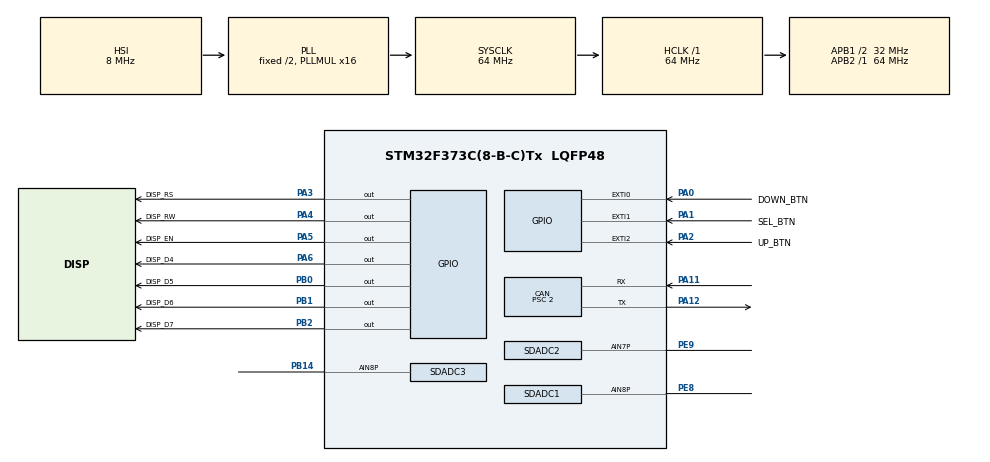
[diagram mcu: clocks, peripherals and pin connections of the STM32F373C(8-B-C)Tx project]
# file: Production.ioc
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Mcu.Family=STM32F3
NVIC.EXTI2_TSC_IRQn=true\:3\:0\:true\:false\:true\:true\:true
NVIC.SDADC1_IRQn=true\:2\:0\:true\:false\:true\:true\:true
RCC.CortexFreq_Value=64000000
RCC.SDADCPresc=RCC_SDADCSYSCLK_DIV12
PA0.GPIO_Label=DOWN_BTN
PA11.Mode=CAN_Activate
PA6.GPIO_Label=DISP_D4
PB0.GPIO_Label=DISP_D5
RCC.SYSCLKSource=RCC_SYSCLKSOURCE_PLLCLK
ProjectManager.StackSize=0x400
SDADC2.NbrOfConversionFlag=1
NVIC.EXTI1_IRQn=true\:3\:0\:true\:false\:true\:true\:true
PA12.Signal=CAN_TX
CAN.Prescaler=2
RCC.HCLKFreq_Value=64000000
RCC.APB2TimFreq_Value=64000000
RCC.AHBFreq_Value=64000000
SDADC3.EnableRegularconversion=DISABLE
RCC.HSE_VALUE=16000000
PB2.Signal=GPIO_Output
RCC.PLLMUL=RCC_PLL_MUL16
PE9.Signal=SDADC2_AIN7P
PA14.Mode=Serial_Wire
PB14.Mode=IN8-Single-Ended
TIM3.Prescaler=64-1
PB1.GPIO_Label=DISP_D6
SDADC3.InjectedContinuousMode=SDADC_CONTINUOUS_CONV_ON
VP_SDADC1_CONF0.Mode=ConfigZero
CAN.CalculateTimeQuantum=62.5
PA0.Signal=GPXTI0
Mcu.Package=LQFP48
TIM2.Prescaler=64-1
PB1.Signal=GPIO_Output
PA6.Signal=GPIO_Output
PA2.GPIO_Label=UP_BTN
PE9.Mode=IN7-Single-Ended
RCC.APB1TimFreq_Value=64000000
PA4.GPIO_Label=DISP_RW
VP_TIM3_VS_ClockSourceINT.Mode=Internal
PA3.Signal=GPIO_Output
VP_SDADC3_CONF0.Mode=ConfigZero
SDADC1.InputMode0=SDADC_INPUT_MODE_SE_ZERO_REFERENCE
CAN.CalculateBaudRate=1000000
NVIC.SDADC2_IRQn=true\:2\:0\:true\:false\:true\:true\:true
RCC.APB1CLKDivider=RCC_HCLK_DIV2
CAN.CalculateTimeBit=1000.00
PE8.Mode=IN8-Single-Ended
PA13.Signal=SYS_JTMS-SWDIO
CAN.BS2=CAN_BS2_7TQ
CAN.BS1=CAN_BS1_8TQ
SDADC3.NbrOfConversionFlag=1
SDADC2.InputMode0=SDADC_INPUT_MODE_SE_ZERO_REFERENCE
VP_SDADC2_CONF0.Mode=ConfigZero
ProjectManager.TargetToolchain=STM32CubeIDE
SDADC1.NbrOfConversionFlag=1
RCC.USBFreq_Value=64000000
RCC.LSE_VALUE=32768
PA1.Signal=GPXTI1
PB14.Signal=SDADC3_AIN8P
PA5.Signal=GPIO_Output
board=custom
NVIC.TIM3_IRQn=true\:0\:0\:true\:false\:true\:true\:true
RCC.APB2Freq_Value=64000000
VP_TIM2_VS_ClockSourceINT.Mode=Internal
PE8.Signal=SDADC1_AIN8P
PA1.GPIO_Label=SEL_BTN
TIM2.Period=65535
PA13.Mode=Serial_Wire
Mcu.Name=STM32F373C(8-B-C)Tx
PA2.Signal=GPXTI2
PB3.Signal=SYS_JTDO-TRACESWO
NVIC.EXTI0_IRQn=true\:3\:0\:true\:false\:true\:true\:true
PA4.Signal=GPIO_Output
RCC.SYSCLKFreq_VALUE=64000000
SDADC3.InputMode0=SDADC_INPUT_MODE_SE_ZERO_REFERENCE
SDADC3.Offset0=0
PA12.Mode=CAN_Activate
PA5.GPIO_Label=DISP_EN
SDADC1.EnableInjectedConversion=DISABLE
PA11.Signal=CAN_RX
SDADC3.ReferenceVoltage=SDADC_VREF_EXT
PA14.Signal=SYS_JTCK-SWCLK
PB2.GPIO_Label=DISP_D7
ProjectManager.HeapSize=0x200
SDADC3.EnableInjectedConversion=DISABLE
RCC.HSI_VALUE=8000000
NVIC.PriorityGroup=NVIC_PRIORITYGROUP_4
RCC.APB1Freq_Value=32000000
NVIC.SDADC3_IRQn=true\:2\:0\:true\:false\:true\:true\:true
PB0.Signal=GPIO_Output
PA3.GPIO_Label=DISP_RS

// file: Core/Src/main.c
/* USER CODE BEGIN Header */
/**
 ******************************************************************************
 * @file           : main.c
 * @brief          : Main program body
 ******************************************************************************
 * @attention
 *
 * <h2><center>&copy; Copyright (c) 2021 STMicroelectronics.
 * All rights reserved.</center></h2>
 *
 * This software component is licensed by ST under BSD 3-Clause license,
 * the "License"; You may not use this file except in compliance with the
 * License. You may obtain a copy of the License at:
 *                        opensource.org/licenses/BSD-3-Clause
 *
 ******************************************************************************
 */
/* USER CODE END Header */
#include "main.h"

/* USER CODE BEGIN Includes */
#include <math.h>
#include <stdio.h>
#include <string.h>
#include "LCD1602.h"
/* USER CODE END Includes */

CAN_HandleTypeDef hcan;

SDADC_HandleTypeDef hsdadc1;
SDADC_HandleTypeDef hsdadc2;
SDADC_HandleTypeDef hsdadc3;

TIM_HandleTypeDef htim2;
TIM_HandleTypeDef htim3;

/* USER CODE BEGIN PV */
//CAN VARIABLES
uint32_t *tx_mailbox; // Tx Mailbox for CAN messages
CAN_FilterTypeDef can_filter; // CAN filter structure

uint8_t PSC=2; //Prescaler for CAN Baud

uint8_t can_id_1, can_id_2, can_id_3;//CAN IDs of analog devices
uint8_t id_arr[4];//array of can ids
uint32_t *CAN_IDs;//32 bit int of can ids
uint8_t can_enabled = 1;// can enable bool
CAN_TxHeaderTypeDef headers_1, headers_2, headers_3; // CAN headers
uint8_t analog_enable_arr[4];// array used to store if analog values are enabled
uint32_t *enable_word;//32 bit int of enable bools
char modified_can_id[3];//can id of the can signal being modified

//ANALOG VARIABLES
//booleans to track which devices are enabled
uint8_t analog_1_enabled=1;
uint8_t analog_2_enabled=1;
uint8_t analog_3_enabled=1;

//analog offsets
uint32_t analog_1_offset=0;
uint32_t analog_2_offset=0;
uint32_t analog_3_offset=0;

//analog scalars for scaling after offset
float offset_scalar_1=1;
float offset_scalar_2=1;
float offset_scalar_3=1;

uint8_t store_offsets=0;//boolean used to store the offsets

int32_t raw_1, raw_2, raw_3; //raw analog data from the sensors
int32_t a_in_1, a_in_2, a_in_3; //adjusted analog data from the sensors
int32_t a_in_1_avg, a_in_2_avg, a_in_3_avg; //adjusted analog data from the sensors
uint8_t a_data_1[2], a_data_2[2], a_data_3[2]; //analog data in a byte array
uint16_t data_arr_length = 4096; //length of the data arrays for averaging the analog values
uint16_t a_data_arr_1[4096], a_data_arr_2[4096], a_data_arr_3[4096]; // data array of values collected between sends
uint16_t a_1_index = 0; // index in data array
uint16_t a_2_index = 0; // index in data array
uint16_t a_3_index = 0; // index in data array
uint16_t for_index = 0; // index used in for loops
uint32_t max = 0; // max index in for loop

//DISPLAY VARIABLES
//menu arrays
char main_menu[4][17] = {"CAN Bus Config  ", "Analog Config   ", "Display Values  ", "Rate:    3333sps"};
char can_menu[6][17] = {"Back            ", "Baud rate:      ", "CAN ID 1:    001", "CAN ID 2:    002", "CAN ID 3:    003", "Reset CAN Config"};
char analog_menu[10][17] = {"Back            ", "Zero All        ", "Zero Analog 1   ", "Zero Analog 2    ", "Zero Analog 3    ", "Analog 1:     ON",
		"Analog 2:     ON", "Analog 3:     ON", "Reset Offsets   ", "Store Offsets   "};
//baud rates to cycle through
const char baud_rates[4][4] = {"125k", "250k", "500k", "  1M"};

//booleans to track current menu
uint8_t in_main_menu = 1;
uint8_t in_can_menu = 0;
uint8_t in_analog_menu = 0;

uint8_t display_scroll = 0;//int for scrolling through devices in display menu

//menu vars
const int main_menu_length=(sizeof(main_menu)/sizeof(main_menu[0]));//the number of strings in the main menu
const int can_menu_length=(sizeof(can_menu)/sizeof(can_menu[0]));//the number of strings in the can config menu
const int analog_menu_length=(sizeof(analog_menu)/sizeof(analog_menu[0]));//the number of strings in the analog config menu
const int baud_rates_length=(sizeof(baud_rates)/sizeof(baud_rates[0]));//the number of baud rates to select from
char temp[17]; //temporary array used for copying
char char_arr[16];//second array used for copying

int8_t menu_pos = 0; //main menu position
int8_t can_pos = 0; //can menu position
int8_t analog_pos = 0; //analog menu position
int8_t baud_pos = 3; //baud_rate array position

//MISC VARIABLES
uint8_t byte_arr[4];//used in wordToByte for storing the resulting bytes

int16_t us = 100;//delay between loops in microseconds
uint8_t num_delays = 0;//the number of loops in between samples
uint16_t sample_rate = 30; // the sample rate of the can transmisions

uint8_t change_value_bool = 0; // boolean for changing the value the selected item
uint8_t up_btn_pressed = 0; // boolean used to debounce buttons
uint8_t down_btn_pressed = 0;
uint8_t sel_btn_pressed = 0;
uint16_t btn_counter=0; // button counter used to debounce buttons
uint16_t debounce_delay = 1000; // number of delays for debounce

uint8_t updating_display = 0; // boolean used for avoiding overwriting during a write to display

/* USER CODE END PV */

void SystemClock_Config(void);
static void MX_GPIO_Init(void);
static void MX_CAN_Init(void);
static void MX_SDADC1_Init(void);
static void MX_SDADC2_Init(void);
static void MX_SDADC3_Init(void);
static void MX_TIM2_Init(void);
static void MX_TIM3_Init(void);
/* USER CODE BEGIN PFP */
void changeBaudRate(uint8_t direction);
void setBaudRate(void);
void changeCANID(uint8_t direction);
void setCANID(void);
void resetCAN(void);
void changeDelay(uint16_t direction);
void setDelay(void);
void zeroAnalog(uint8_t analog_id);
void resetOffsets(void);
void toggleAnalog(uint8_t analog_id);
void displayValues(void);
uint32_t bytesToWord(uint8_t* arr);
uint8_t* wordToBytes(uint32_t value);
void storeInFlash(void);
void calibrateSDADC(SDADC_HandleTypeDef* adc, uint32_t channel);

/* USER CODE END PFP */

int main(void)
{
  /* USER CODE BEGIN 1 */
	//Get variables from Flash Memory
	//get and store CAN IDs
	CAN_IDs=(*(__IO uint32_t *) 0x0800F800);
	memcpy(id_arr, wordToBytes(CAN_IDs), 4);
	can_id_1=id_arr[0];
	can_id_2=id_arr[1];
	can_id_3=id_arr[2];
	//if duplicate IDs set IDs to 1, 2, and 3 respectively
	if(can_id_1==can_id_2 || can_id_1==can_id_3||can_id_2==can_id_3){
		can_id_1=1;
		can_id_2=2;
		can_id_3=3;
	}

	//get the baud rate
	baud_pos=(uint8_t)(*(__IO uint32_t *) 0x0800F804);
	//if invalid baud rate then set to 1M
	if(baud_pos<0||baud_pos>3)
		baud_pos=3;
	PSC=pow(2,4-baud_pos);//set prescaler for CAN timer

	//get the sample rate and set it to 100sps if the values is out of the allowed range
	sample_rate=(uint16_t)(*(__IO uint32_t *) 0x0800F808);
	if(sample_rate<(uint16_t)30 || sample_rate>(uint16_t)10000)
		sample_rate=100;

	// retrieve the analog enabled booleans
	enable_word=(*(__IO uint32_t *) 0x0800F80C);
	memcpy(analog_enable_arr, wordToBytes(enable_word), 4);
	analog_1_enabled=analog_enable_arr[0];
	analog_2_enabled=analog_enable_arr[1];
	analog_3_enabled=analog_enable_arr[2];

	//sample rate cap for number of channels enabled
	if(sample_rate<30||(analog_1_enabled && analog_2_enabled && analog_3_enabled && sample_rate > 3000/(log(PSC)/log(2)))||(((analog_1_enabled&&analog_2_enabled)||(analog_1_enabled&&analog_3_enabled)||(analog_2_enabled&&analog_3_enabled))&& sample_rate>5000/(log(PSC)/log(2)))||(sample_rate>10000/(log(PSC)/log(2)))){
		sample_rate=(analog_1_enabled && analog_2_enabled && analog_3_enabled)?3000:((analog_1_enabled&&analog_2_enabled)||(analog_1_enabled&&analog_3_enabled)||(analog_2_enabled&&analog_3_enabled))?5000:10000;
		sample_rate/=(log(PSC)/log(2));
	}

	//get the offsets
	analog_1_offset=(*(__IO uint32_t *) 0x0800F810);
	analog_2_offset=(*(__IO uint32_t *) 0x0800F814);
	analog_3_offset=(*(__IO uint32_t *) 0x0800F818);
	//reset offsets if the stored value is too high
	if(analog_1_offset>65534)
		analog_1_offset=0;
	else
		offset_scalar_1=(65535)/(float)(65535-analog_1_offset);
	if(analog_2_offset>65534)
		analog_2_offset=0;
	else
		offset_scalar_2=(65535)/(float)(65535-analog_2_offset);
	if(analog_3_offset>65534)
		analog_3_offset=0;
	else
		offset_scalar_3=(65535)/(float)(65535-analog_3_offset);

	// Set the headers for the first analog device
	headers_1.StdId = (uint32_t)can_id_1; // set the CAN ID
	headers_1.IDE = CAN_ID_STD; // use standard CAN ID (not extended)
	headers_1.RTR = CAN_RTR_DATA; // specify frame type
	headers_1.DLC = (uint32_t)2; // set the size of the data
	headers_1.TransmitGlobalTime = DISABLE; // disable transmission of time

	// Set the headers for the second analog device
	headers_2.StdId = can_id_2; // set the CAN ID
	headers_2.IDE = CAN_ID_STD; // use standard CAN ID (not extended)
	headers_2.RTR = CAN_RTR_DATA; // specify frame type
	headers_2.DLC = (uint32_t)2; // set the size of the data
	headers_2.TransmitGlobalTime = DISABLE; // disable transmission of time

	// Set the headers for the third analog device
	headers_3.StdId = can_id_3; // set the CAN ID
	headers_3.IDE = CAN_ID_STD; // use standard CAN ID (not extended)
	headers_3.RTR = CAN_RTR_DATA; // specify frame type
	headers_3.DLC = (uint32_t)2; // set the size of the data
	headers_3.TransmitGlobalTime = DISABLE; // disable transmission of time

	//Save the stored values to the menus
	//set the baud rate
	memset(temp,0,17); // erase the temp array
	strncpy(temp, "Baud rate:  ",16); // copy the string to the temp array (limiting the length to 16 characters)
	strlcat(temp,baud_rates[baud_pos],17);
	strlcpy(can_menu[1],temp,17);

	//set can IDs
	memset(temp,0,17); // erase the temp array
	strncpy(temp, "CAN ID ",16); // copy the string to the temp array (limiting the length to 16 characters)
	strcat(temp, "1:    ");
	memset(char_arr, 0, 16);
	sprintf(char_arr, "%03d", can_id_1);
	strlcat(temp, char_arr,17);
	memcpy(can_menu[2],temp,17);
	//can id 2
	memset(temp,0,17); // erase the temp array
	strncpy(temp, "CAN ID ",16); // copy the string to the temp array (limiting the length to 16 characters)
	strcat(temp, "2:    ");
	memset(char_arr, 0, 16);
	sprintf(char_arr, "%03d", can_id_2);
	strlcat(temp, char_arr,17);
	memcpy(can_menu[3],temp,17);
	//can id 3
	memset(temp,0,17); // erase the temp array
	strncpy(temp, "CAN ID ",16); // copy the string to the temp array (limiting the length to 16 characters)
	strcat(temp, "3:    ");
	memset(char_arr, 0, 16);
	sprintf(char_arr, "%03d", can_id_3);
	strlcat(temp, char_arr,17);
	memcpy(can_menu[4],temp,17);

	//Sample rate
	memset(temp,0,17); // erase the temp array
	strncpy(temp, "Rate:   ",16); // copy the string to the temp array (limiting the length to 16 characters)
	memset(char_arr, 0, 16);
	sprintf(char_arr, "%05d", sample_rate);
	strcat(temp, char_arr);
	strlcat(temp,"sps",17);
	memcpy(main_menu[3],temp,17);

	//Analog enabled bools
	if(!analog_1_enabled)
		memcpy(analog_menu[5],"Analog 1:    OFF",17);
	if(!analog_2_enabled)
		memcpy(analog_menu[6],"Analog 2:    OFF",17);
	if(!analog_3_enabled)
		memcpy(analog_menu[7],"Analog 3:    OFF",17);
  /* USER CODE END 1 */

  /* MCU Configuration--------------------------------------------------------*/

  /* Reset of all peripherals, Initializes the Flash interface and the Systick. */
  HAL_Init();

  /* Configure the system clock */
  SystemClock_Config();

  /* Initialize all configured peripherals */
  MX_GPIO_Init();
  MX_CAN_Init();
  MX_SDADC1_Init();
  MX_SDADC2_Init();
  MX_SDADC3_Init();
  MX_TIM2_Init();
  MX_TIM3_Init();
  /* USER CODE BEGIN 2 */
	HAL_TIM_Base_Start(&htim2);//start polling timer

	//initialize LCD (the delays aren't necessary but I think they help to let the adcs stabilize before they're calibrated)
	lcd_init();
	lcd_clear();
	lcd_put_cur(0,0);
	lcd_send_string("Starting Up...");
	HAL_Delay(1000);
	lcd_put_cur(0,0);
	lcd_send_string("Initializing CAN");
	HAL_Delay(1000);

	//setup CAN filter
	can_filter.FilterMaskIdHigh = 0x0000;
	can_filter.FilterMaskIdLow = 0x0000;
	can_filter.FilterFIFOAssignment = CAN_FILTER_FIFO0;
	can_filter.FilterBank = 0;
	can_filter.FilterMode = CAN_FILTERMODE_IDMASK;
	can_filter.FilterScale = CAN_FILTERSCALE_32BIT;
	can_filter.FilterActivation = CAN_FILTER_ENABLE;
	//check that CAN Filter was setup correctly
	if (HAL_CAN_ConfigFilter(&hcan, &can_filter) != HAL_OK)
		Error_Handler();
	//start the can protocol and verify that it has started
	if (HAL_CAN_Start(&hcan) != HAL_OK)
		Error_Handler();

	//display main menu
	lcd_put_cur(0,0);
	//the string is copied to temp to remove the null character at the end of the string in the menu
	lcd_send_string(strncpy(temp,main_menu[menu_pos],16));
	lcd_put_cur(1,0);
	lcd_send_string(strncpy(temp,main_menu[menu_pos+1],16));
	lcd_put_cur(0,0);

	int display_counter=0;//counter used in updating the display

	//calibrate the SDADCs
	calibrateSDADC(&hsdadc1, SDADC_CHANNEL_8);
	calibrateSDADC(&hsdadc2, SDADC_CHANNEL_7);
	calibrateSDADC(&hsdadc3, SDADC_CHANNEL_8);
	HAL_Delay(300);

	//start ADC conversion interrupts
	if(analog_1_enabled)
		HAL_SDADC_Start_IT(&hsdadc1);
	if(analog_2_enabled)
		HAL_SDADC_Start_IT(&hsdadc2);
	if(analog_3_enabled)
		HAL_SDADC_Start_IT(&hsdadc3);

	// start can timer
	TIM3->ARR = (uint32_t)(((float)1/sample_rate)*1000000) - 1;//set the delay between interrupts
	HAL_TIM_Base_Start_IT(&htim3);

  /* USER CODE END 2 */

  /* Infinite loop */
  /* USER CODE BEGIN WHILE */
	while (1)
	{
		//start ADC conversion interrupts
		if(analog_1_enabled)
			HAL_SDADC_Start_IT(&hsdadc1);
		if(analog_2_enabled)
			HAL_SDADC_Start_IT(&hsdadc2);
		if(analog_3_enabled)
			HAL_SDADC_Start_IT(&hsdadc3);

		//Delay between counter increments
		if ((int16_t)__HAL_TIM_GET_COUNTER(&htim2) >= us){
			__HAL_TIM_SET_COUNTER(&htim2,0); // reset timer
			//reset display counter (waits 300ms between updates to the display in the display values menu)
			if(display_counter>3000)
				display_counter=0;

			//Display analog values on display
			if(in_main_menu && menu_pos==2 && change_value_bool && display_counter==0)
				displayValues();

			//unpress buttons
			if(btn_counter>debounce_delay){
				if(up_btn_pressed && !HAL_GPIO_ReadPin(UP_BTN_GPIO_Port, UP_BTN_Pin))
					up_btn_pressed=0;
				if(down_btn_pressed && !HAL_GPIO_ReadPin(DOWN_BTN_GPIO_Port, DOWN_BTN_Pin))
					down_btn_pressed=0;
				if(sel_btn_pressed && !HAL_GPIO_ReadPin(SEL_BTN_GPIO_Port, SEL_BTN_Pin))
					sel_btn_pressed=0;
				btn_counter=0;
			}

			//increment counters
			display_counter++;
			btn_counter++;
		}

    /* USER CODE END WHILE */

	}
}

void SystemClock_Config(void)
{
  RCC_OscInitTypeDef RCC_OscInitStruct = {0};
  RCC_ClkInitTypeDef RCC_ClkInitStruct = {0};
  RCC_PeriphCLKInitTypeDef PeriphClkInit = {0};

  /** Initializes the RCC Oscillators according to the specified parameters
  * in the RCC_OscInitTypeDef structure.
  */
  RCC_OscInitStruct.OscillatorType = RCC_OSCILLATORTYPE_HSI;
  RCC_OscInitStruct.HSIState = RCC_HSI_ON;
  RCC_OscInitStruct.HSICalibrationValue = RCC_HSICALIBRATION_DEFAULT;
  RCC_OscInitStruct.PLL.PLLState = RCC_PLL_ON;
  RCC_OscInitStruct.PLL.PLLSource = RCC_PLLSOURCE_HSI;
  RCC_OscInitStruct.PLL.PLLMUL = RCC_PLL_MUL16;
  if (HAL_RCC_OscConfig(&RCC_OscInitStruct) != HAL_OK)
  {
    Error_Handler();
  }
  /** Initializes the CPU, AHB and APB buses clocks
  */
  RCC_ClkInitStruct.ClockType = RCC_CLOCKTYPE_HCLK|RCC_CLOCKTYPE_SYSCLK
                              |RCC_CLOCKTYPE_PCLK1|RCC_CLOCKTYPE_PCLK2;
  RCC_ClkInitStruct.SYSCLKSource = RCC_SYSCLKSOURCE_PLLCLK;
  RCC_ClkInitStruct.AHBCLKDivider = RCC_SYSCLK_DIV1;
  RCC_ClkInitStruct.APB1CLKDivider = RCC_HCLK_DIV2;
  RCC_ClkInitStruct.APB2CLKDivider = RCC_HCLK_DIV1;

  if (HAL_RCC_ClockConfig(&RCC_ClkInitStruct, FLASH_LATENCY_2) != HAL_OK)
  {
    Error_Handler();
  }
  PeriphClkInit.PeriphClockSelection = RCC_PERIPHCLK_SDADC;
  PeriphClkInit.SdadcClockSelection = RCC_SDADCSYSCLK_DIV12;
  if (HAL_RCCEx_PeriphCLKConfig(&PeriphClkInit) != HAL_OK)
  {
    Error_Handler();
  }
  HAL_PWREx_EnableSDADC(PWR_SDADC_ANALOG1);
  HAL_PWREx_EnableSDADC(PWR_SDADC_ANALOG2);
  HAL_PWREx_EnableSDADC(PWR_SDADC_ANALOG3);
}

static void MX_CAN_Init(void)
{

  hcan.Instance = CAN;
  hcan.Init.Prescaler = 2;
  hcan.Init.Mode = CAN_MODE_NORMAL;
  hcan.Init.SyncJumpWidth = CAN_SJW_1TQ;
  hcan.Init.TimeSeg1 = CAN_BS1_8TQ;
  hcan.Init.TimeSeg2 = CAN_BS2_7TQ;
  hcan.Init.TimeTriggeredMode = DISABLE;
  hcan.Init.AutoBusOff = DISABLE;
  hcan.Init.AutoWakeUp = DISABLE;
  hcan.Init.AutoRetransmission = DISABLE;
  hcan.Init.ReceiveFifoLocked = DISABLE;
  hcan.Init.TransmitFifoPriority = DISABLE;
  if (HAL_CAN_Init(&hcan) != HAL_OK)
  {
    Error_Handler();
  }
  /* USER CODE BEGIN CAN_Init 2 */
	//set the prescaler to the right value for the stored baud rate
	hcan.Init.Prescaler = PSC;
	if (HAL_CAN_Init(&hcan) != HAL_OK)
	{
		Error_Handler();
	}

  /* USER CODE END CAN_Init 2 */

}

static void MX_SDADC1_Init(void)
{

  SDADC_ConfParamTypeDef ConfParamStruct = {0};

  /** Configure the SDADC low power mode, fast conversion mode,
  slow clock mode and SDADC1 reference voltage
  */
  hsdadc1.Instance = SDADC1;
  hsdadc1.Init.IdleLowPowerMode = SDADC_LOWPOWER_NONE;
  hsdadc1.Init.FastConversionMode = SDADC_FAST_CONV_DISABLE;
  hsdadc1.Init.SlowClockMode = SDADC_SLOW_CLOCK_DISABLE;
  hsdadc1.Init.ReferenceVoltage = SDADC_VREF_EXT;
  if (HAL_SDADC_Init(&hsdadc1) != HAL_OK)
  {
    Error_Handler();
  }
  /** Set parameters for SDADC configuration 0 Register
  */
  ConfParamStruct.InputMode = SDADC_INPUT_MODE_SE_ZERO_REFERENCE;
  ConfParamStruct.Gain = SDADC_GAIN_1;
  ConfParamStruct.CommonMode = SDADC_COMMON_MODE_VSSA;
  ConfParamStruct.Offset = 0;
  if (HAL_SDADC_PrepareChannelConfig(&hsdadc1, SDADC_CONF_INDEX_0, &ConfParamStruct) != HAL_OK)
  {
    Error_Handler();
  }

}

static void MX_SDADC2_Init(void)
{

  SDADC_ConfParamTypeDef ConfParamStruct = {0};

  /** Configure the SDADC low power mode, fast conversion mode,
  slow clock mode and SDADC1 reference voltage
  */
  hsdadc2.Instance = SDADC2;
  hsdadc2.Init.IdleLowPowerMode = SDADC_LOWPOWER_NONE;
  hsdadc2.Init.FastConversionMode = SDADC_FAST_CONV_DISABLE;
  hsdadc2.Init.SlowClockMode = SDADC_SLOW_CLOCK_DISABLE;
  hsdadc2.Init.ReferenceVoltage = SDADC_VREF_EXT;
  if (HAL_SDADC_Init(&hsdadc2) != HAL_OK)
  {
    Error_Handler();
  }
  /** Set parameters for SDADC configuration 0 Register
  */
  ConfParamStruct.InputMode = SDADC_INPUT_MODE_SE_ZERO_REFERENCE;
  ConfParamStruct.Gain = SDADC_GAIN_1;
  ConfParamStruct.CommonMode = SDADC_COMMON_MODE_VSSA;
  ConfParamStruct.Offset = 0;
  if (HAL_SDADC_PrepareChannelConfig(&hsdadc2, SDADC_CONF_INDEX_0, &ConfParamStruct) != HAL_OK)
  {
    Error_Handler();
  }

}

static void MX_SDADC3_Init(void)
{

  SDADC_ConfParamTypeDef ConfParamStruct = {0};

  /** Configure the SDADC low power mode, fast conversion mode,
  slow clock mode and SDADC1 reference voltage
  */
  hsdadc3.Instance = SDADC3;
  hsdadc3.Init.IdleLowPowerMode = SDADC_LOWPOWER_NONE;
  hsdadc3.Init.FastConversionMode = SDADC_FAST_CONV_DISABLE;
  hsdadc3.Init.SlowClockMode = SDADC_SLOW_CLOCK_DISABLE;
  hsdadc3.Init.ReferenceVoltage = SDADC_VREF_EXT;
  if (HAL_SDADC_Init(&hsdadc3) != HAL_OK)
  {
    Error_Handler();
  }
  /** Set parameters for SDADC configuration 0 Register
  */
  ConfParamStruct.InputMode = SDADC_INPUT_MODE_SE_ZERO_REFERENCE;
  ConfParamStruct.Gain = SDADC_GAIN_1;
  ConfParamStruct.CommonMode = SDADC_COMMON_MODE_VSSA;
  ConfParamStruct.Offset = 0;
  if (HAL_SDADC_PrepareChannelConfig(&hsdadc3, SDADC_CONF_INDEX_0, &ConfParamStruct) != HAL_OK)
  {
    Error_Handler();
  }

}

static void MX_TIM2_Init(void)
{

  TIM_ClockConfigTypeDef sClockSourceConfig = {0};
  TIM_MasterConfigTypeDef sMasterConfig = {0};

  htim2.Instance = TIM2;
  htim2.Init.Prescaler = 64-1;
  htim2.Init.CounterMode = TIM_COUNTERMODE_UP;
  htim2.Init.Period = 65535;
  htim2.Init.ClockDivision = TIM_CLOCKDIVISION_DIV1;
  htim2.Init.AutoReloadPreload = TIM_AUTORELOAD_PRELOAD_DISABLE;
  if (HAL_TIM_Base_Init(&htim2) != HAL_OK)
  {
    Error_Handler();
  }
  sClockSourceConfig.ClockSource = TIM_CLOCKSOURCE_INTERNAL;
  if (HAL_TIM_ConfigClockSource(&htim2, &sClockSourceConfig) != HAL_OK)
  {
    Error_Handler();
  }
  sMasterConfig.MasterOutputTrigger = TIM_TRGO_RESET;
  sMasterConfig.MasterSlaveMode = TIM_MASTERSLAVEMODE_DISABLE;
  if (HAL_TIMEx_MasterConfigSynchronization(&htim2, &sMasterConfig) != HAL_OK)
  {
    Error_Handler();
  }

}

static void MX_TIM3_Init(void)
{

  TIM_ClockConfigTypeDef sClockSourceConfig = {0};
  TIM_MasterConfigTypeDef sMasterConfig = {0};

  htim3.Instance = TIM3;
  htim3.Init.Prescaler = 64-1;
  htim3.Init.CounterMode = TIM_COUNTERMODE_UP;
  htim3.Init.Period = 65535;
  htim3.Init.ClockDivision = TIM_CLOCKDIVISION_DIV1;
  htim3.Init.AutoReloadPreload = TIM_AUTORELOAD_PRELOAD_DISABLE;
  if (HAL_TIM_Base_Init(&htim3) != HAL_OK)
  {
    Error_Handler();
  }
  sClockSourceConfig.ClockSource = TIM_CLOCKSOURCE_INTERNAL;
  if (HAL_TIM_ConfigClockSource(&htim3, &sClockSourceConfig) != HAL_OK)
  {
    Error_Handler();
  }
  sMasterConfig.MasterOutputTrigger = TIM_TRGO_RESET;
  sMasterConfig.MasterSlaveMode = TIM_MASTERSLAVEMODE_DISABLE;
  if (HAL_TIMEx_MasterConfigSynchronization(&htim3, &sMasterConfig) != HAL_OK)
  {
    Error_Handler();
  }

}

static void MX_GPIO_Init(void)
{
  GPIO_InitTypeDef GPIO_InitStruct = {0};

  /* GPIO Ports Clock Enable */
  __HAL_RCC_GPIOA_CLK_ENABLE();
  __HAL_RCC_GPIOB_CLK_ENABLE();
  __HAL_RCC_GPIOE_CLK_ENABLE();

  /*Configure GPIO pin Output Level */
  HAL_GPIO_WritePin(GPIOA, DISP_RS_Pin|DISP_RW_Pin|DISP_EN_Pin|DISP_D4_Pin, GPIO_PIN_RESET);

  /*Configure GPIO pin Output Level */
  HAL_GPIO_WritePin(GPIOB, DISP_D5_Pin|DISP_D6_Pin|DISP_D7_Pin, GPIO_PIN_RESET);

  /*Configure GPIO pins : DOWN_BTN_Pin SEL_BTN_Pin UP_BTN_Pin */
  GPIO_InitStruct.Pin = DOWN_BTN_Pin|SEL_BTN_Pin|UP_BTN_Pin;
  GPIO_InitStruct.Mode = GPIO_MODE_IT_RISING;
  GPIO_InitStruct.Pull = GPIO_NOPULL;
  HAL_GPIO_Init(GPIOA, &GPIO_InitStruct);

  /*Configure GPIO pins : DISP_RS_Pin DISP_RW_Pin DISP_EN_Pin DISP_D4_Pin */
  GPIO_InitStruct.Pin = DISP_RS_Pin|DISP_RW_Pin|DISP_EN_Pin|DISP_D4_Pin;
  GPIO_InitStruct.Mode = GPIO_MODE_OUTPUT_PP;
  GPIO_InitStruct.Pull = GPIO_NOPULL;
  GPIO_InitStruct.Speed = GPIO_SPEED_FREQ_LOW;
  HAL_GPIO_Init(GPIOA, &GPIO_InitStruct);

  /*Configure GPIO pins : DISP_D5_Pin DISP_D6_Pin DISP_D7_Pin */
  GPIO_InitStruct.Pin = DISP_D5_Pin|DISP_D6_Pin|DISP_D7_Pin;
  GPIO_InitStruct.Mode = GPIO_MODE_OUTPUT_PP;
  GPIO_InitStruct.Pull = GPIO_NOPULL;
  GPIO_InitStruct.Speed = GPIO_SPEED_FREQ_LOW;
  HAL_GPIO_Init(GPIOB, &GPIO_InitStruct);

  /* EXTI interrupt init*/
  HAL_NVIC_SetPriority(EXTI0_IRQn, 3, 0);
  HAL_NVIC_EnableIRQ(EXTI0_IRQn);

  HAL_NVIC_SetPriority(EXTI1_IRQn, 3, 0);
  HAL_NVIC_EnableIRQ(EXTI1_IRQn);

  HAL_NVIC_SetPriority(EXTI2_TSC_IRQn, 3, 0);
  HAL_NVIC_EnableIRQ(EXTI2_TSC_IRQn);

}

/* USER CODE BEGIN 4 */
//read adc values
void HAL_SDADC_ConvCpltCallback(SDADC_HandleTypeDef* hsdadc)
{
	//get analog 1 data
	if(hsdadc==&hsdadc1){
		//get, convert and scale raw data for analog 1
		a_in_1=((int16_t)(HAL_SDADC_GetValue(&hsdadc1))+32768-analog_1_offset);
		if(a_in_1<0)
			a_in_1=0;
		a_data_arr_1[a_1_index%data_arr_length]=(uint16_t)(a_in_1*offset_scalar_1);//scale value
		a_1_index++;
	}

	//get analog 2 data
	if(hsdadc==&hsdadc2){
		//get, convert and scale raw data for analog 2
		a_in_2=((int16_t)(HAL_SDADC_GetValue(&hsdadc2))+32768-analog_2_offset);
		if(a_in_2<0)
			a_in_2=0;
		a_data_arr_2[a_2_index%data_arr_length]=(uint16_t)(a_in_2*offset_scalar_2);//scale value
		a_2_index++;
	}

	//get analog 3 data
	if(hsdadc==&hsdadc3){
		//get, convert and scale raw data for analog 3
		a_in_3=((int16_t)(HAL_SDADC_GetValue(&hsdadc3))+32768-analog_3_offset);
		if(a_in_3<0)
			a_in_3=0;
		a_data_arr_3[a_3_index%data_arr_length]=(uint16_t)(a_in_3*offset_scalar_3);//scale value
		a_3_index++;
	}
}

//sends data over can when timer 3 interrupts
void HAL_TIM_PeriodElapsedCallback(TIM_HandleTypeDef *htim)
{
	// Check to make sure timer 3 triggered this callback and don't try sending before the can is initialized
	if (htim == &htim3 && can_enabled)
	{
		if(analog_1_enabled){
			//average stored values
			a_in_1=0;
			max = (a_1_index<data_arr_length?a_1_index:data_arr_length);
			if(max>0){
				for(for_index=0; for_index<max; for_index++)
					a_in_1+=a_data_arr_1[for_index];
				a_in_1/=max;
				a_1_index=0;
			}

			a_in_1_avg=a_in_1;// store the average for offsets and display

			//put raw data into byte arrays
			a_data_1[0]=a_in_1 & 0xff;
			a_data_1[1]=(a_in_1 >> 8);
			//transmit CAN data for analog 1
			HAL_CAN_AddTxMessage(&hcan, &headers_1, a_data_1, &tx_mailbox);
			//while (HAL_CAN_IsTxMessagePending(&hcan, tx_mailbox));//wait until data is sent for analog 1 (not needed because of the time from averaging)
		}
		if(analog_2_enabled){
			//average stored values
			a_in_2=0;
			max = (a_2_index<data_arr_length?a_2_index:data_arr_length);
			if(max>0){
				for(for_index=0; for_index<max; for_index++)
					a_in_2+=a_data_arr_2[for_index];
				a_in_2/=max;
				a_2_index=0;
			}

			a_in_2_avg=a_in_2;// store the average for offsets and display

			//put raw data into byte arrays
			a_data_2[0]=a_in_2 & 0xff;
			a_data_2[1]=(a_in_2 >> 8);
			//transmit CAN data for analog 2
			HAL_CAN_AddTxMessage(&hcan, &headers_2, a_data_2, &tx_mailbox);
			//while (HAL_CAN_IsTxMessagePending(&hcan, tx_mailbox));//wait until data is sent for analog 2
		}
		if(analog_3_enabled){
			//average stored values
			a_in_3=0;
			max = (a_3_index<data_arr_length?a_3_index:data_arr_length);
			if(max>0){
				for(for_index=0; for_index<max; for_index++)
					a_in_3+=a_data_arr_3[for_index];
				a_in_3/=max;
				a_3_index=0;
			}

			a_in_3_avg=a_in_3;// store the average for offsets and display

			//put raw data into byte arrays
			a_data_3[0]=a_in_3 & 0xff;
			a_data_3[1]=(a_in_3 >> 8);
			//transmit CAN data for analog 3
			HAL_CAN_AddTxMessage(&hcan, &headers_3, a_data_3, &tx_mailbox);
			//while (HAL_CAN_IsTxMessagePending(&hcan, tx_mailbox));//wait until data is sent for analog 3
		}
	}
}

//handles the button interupts
void HAL_GPIO_EXTI_Callback(uint16_t GPIO_Pin){
	if(!updating_display){// don't interrupt if the display is in the middle of updating
		//if the up button is pressed
		if(GPIO_Pin==UP_BTN_Pin && !up_btn_pressed){
			if(change_value_bool){//if changing a value
				//change the value of the selected item
				//main menu changes
				if(in_main_menu){
					if(menu_pos==2)
						display_scroll=(display_scroll==0)?2:(display_scroll-1);//scroll through devices in display values menu
					if(menu_pos == 3)
						changeDelay(1);//increment Delay
				}
				//can menu changes
				if(in_can_menu){
					if(can_pos==1)
						changeBaudRate(1);//increment baud rate
					else if(can_pos>=2&&can_pos<=4)
						changeCANID(1);//increment CAN ID
				}

			} else {
				//scroll menu up
				if(in_main_menu){
					menu_pos=(menu_pos==0)?main_menu_length-1:(menu_pos-1);//decrement menu position
					lcd_put_cur(0,0);
					lcd_send_string(strncpy(temp,main_menu[menu_pos],16));
					lcd_put_cur(1,0);
					lcd_send_string(strncpy(temp,main_menu[(menu_pos+1)%main_menu_length],16));
					lcd_put_cur(0,0);
				} else if(in_can_menu){
					can_pos=(can_pos==0)?can_menu_length-1:(can_pos-1);//decrement menu position
					lcd_put_cur(0,0);
					lcd_send_string(strncpy(temp,can_menu[can_pos],16));
					lcd_put_cur(1,0);
					lcd_send_string(strncpy(temp,can_menu[(can_pos+1)%can_menu_length],16));
					lcd_put_cur(0,0);
				} else if(in_analog_menu){
					analog_pos=(analog_pos==0)?analog_menu_length-1:(analog_pos-1);//decrement menu position
					lcd_put_cur(0,0);
					lcd_send_string(strncpy(temp,analog_menu[analog_pos],16));
					lcd_put_cur(1,0);
					lcd_send_string(strncpy(temp,analog_menu[(analog_pos+1)%analog_menu_length],16));
					lcd_put_cur(0,0);
				}
			}
			btn_counter=0; // reset btn counter
			up_btn_pressed=1; // set up button to pressed
		}

		//if the down button is pressed
		else if(GPIO_Pin==DOWN_BTN_Pin && !down_btn_pressed){
			if(change_value_bool){//if changing a value
				//change the value of the selected item
				//main menu changes
				if(in_main_menu){
					if(menu_pos==2)
						display_scroll=(display_scroll+1)%3;//scroll through devices in display values menu
					if(menu_pos == 3)
						changeDelay(-1);//decrement Delay
				}
				//can menu changes
				if(in_can_menu){
					if(can_pos==1)
						changeBaudRate(-1);//decrement baud rate
					else if(can_pos>=2&&can_pos<=4)
						changeCANID(-1);//decrement CAN ID
				}
			} else {
				//scroll menu down
				if(in_main_menu){
					menu_pos = (menu_pos+1)%main_menu_length;//increment menu position
					lcd_put_cur(0,0);
					lcd_send_string(strncpy(temp,main_menu[menu_pos],16));
					lcd_put_cur(1,0);
					lcd_send_string(strncpy(temp,main_menu[(menu_pos+1)%main_menu_length],16));
					lcd_put_cur(0,0);
				} else if(in_can_menu){
					can_pos=(can_pos+1)%can_menu_length;//increment menu position
					lcd_put_cur(0,0);
					lcd_send_string(strncpy(temp,can_menu[can_pos],16));
					lcd_put_cur(1,0);
					lcd_send_string(strncpy(temp,can_menu[(can_pos+1)%can_menu_length],16));
					lcd_put_cur(0,0);
				} else if(in_analog_menu){
					analog_pos=(analog_pos+1)%analog_menu_length;//increment menu position
					lcd_put_cur(0,0);
					lcd_send_string(strncpy(temp,analog_menu[analog_pos],16));
					lcd_put_cur(1,0);
					lcd_send_string(strncpy(temp,analog_menu[(analog_pos+1)%analog_menu_length],16));
					lcd_put_cur(0,0);
				}

			}
			btn_counter=0; // reset btn counter
			down_btn_pressed=1; // set down button to pressed
		}

		//if the select button is pressed
		else if(GPIO_Pin==SEL_BTN_Pin && !sel_btn_pressed){
			//set changes and reinitialize can bus
			if(!change_value_bool){
				if(in_main_menu){
					if(menu_pos==0){
						//display can menu
						lcd_put_cur(0,0);
						lcd_send_string(strncpy(temp,can_menu[can_pos],16));
						lcd_put_cur(1,0);
						lcd_send_string(strncpy(temp,can_menu[(can_pos+1)%can_menu_length],16));
						lcd_put_cur(0,0);
						//update menu booleans
						in_can_menu=1;
						in_main_menu=0;
						change_value_bool=!change_value_bool;//invert change value bool
					} else if(menu_pos==1){
						//display can menu
						lcd_put_cur(0,0);
						lcd_send_string(strncpy(temp,analog_menu[analog_pos],16));
						lcd_put_cur(1,0);
						lcd_send_string(strncpy(temp,analog_menu[(analog_pos+1)%analog_menu_length],16));
						lcd_put_cur(0,0);
						//update menu booleans
						in_analog_menu=1;
						in_main_menu=0;
						change_value_bool=!change_value_bool;//invert change value bool
					} else if (menu_pos==2){
						display_scroll=0;// reset display value menu position
					} else if (menu_pos==3){
						//move cursor for delay change
						lcd_put_cur(0,13);
					}
				} else if((in_can_menu&&can_pos==0)||(in_analog_menu&&analog_pos==0)){// back buttons
					//display main menu
					lcd_put_cur(0,0);
					lcd_send_string(strncpy(temp,main_menu[menu_pos],16));
					lcd_put_cur(1,0);
					lcd_send_string(strncpy(temp,main_menu[(menu_pos+1)%main_menu_length],16));
					lcd_put_cur(0,0);
					//update menu booleans
					in_can_menu=0;
					in_analog_menu=0;
					in_main_menu=1;
					change_value_bool=!change_value_bool;//invert change value bool
				} else if (in_analog_menu){
					if(analog_pos>=1 && analog_pos<=4){
						zeroAnalog(analog_pos-1);// set the analog offsets to the current value
						change_value_bool=!change_value_bool;//invert change value bool
					}else if(analog_pos>=5 && analog_pos<=7){
						toggleAnalog(analog_pos-4);
						change_value_bool=!change_value_bool;//invert change value bool
					}else if(analog_pos==8){
						resetOffsets();// reset the analog offsets
						change_value_bool =!change_value_bool;//invert change value bool
					}else if(analog_pos==9){
						store_offsets=1;
						storeInFlash();// store the analog offsets
						lcd_put_cur(0,0);
						lcd_send_string("Store Successful");
						lcd_put_cur(0,15);
						change_value_bool=!change_value_bool;//invert change value bool
					}

				} else if (in_can_menu){
					if(can_pos==5){
						resetCAN();// reset the CAN options to default
						change_value_bool=!change_value_bool;//invert change value bool
					} else {
						//move cursor to end
						lcd_put_cur(0,15);
					}
				} else{
					//move cursor to end
					lcd_put_cur(0,15);
				}

			}else{
				if(in_main_menu){
					if(menu_pos==2){ //display menu
						lcd_put_cur(0,0);
						lcd_send_string(strncpy(temp,main_menu[menu_pos],16));
						lcd_put_cur(1,0);
						lcd_send_string(strncpy(temp,main_menu[(menu_pos+1)%main_menu_length],16));
						lcd_put_cur(0,0);
					}
					else if(menu_pos==3)
						setDelay();//set Delay
				}
				else if(in_can_menu){
					if(can_pos==1)
						setBaudRate(); // set and store the selected baud rate
					else if(can_pos>=2 && can_pos<=4)
						setCANID(); // set and store the selected can id
				}

			}
			change_value_bool=!change_value_bool;//invert change value bool
			btn_counter=0; // reset btn counter
			sel_btn_pressed=1; // set select button to pressed
		}
	}
}

//changes the baud rate of the CAN connection
void changeBaudRate(uint8_t direction){
	baud_pos = ((baud_pos+direction)<0)?baud_rates_length-1:(baud_pos+direction)%baud_rates_length;//move baud rate position in given direction

	//display the selected baud rate
	lcd_put_cur(0,12);
	lcd_send_string(baud_rates[baud_pos]);
	lcd_put_cur(0,15);
}

//set the baud rate and store it
void setBaudRate(void){
	can_enabled=0;
	//stop can bus
	HAL_CAN_Stop(&hcan);

	//set prescaler
	PSC=pow(2,4-baud_pos);

	//sample rate cap
	if(sample_rate<30||(analog_1_enabled && analog_2_enabled && analog_3_enabled && sample_rate > 3000/(log(PSC)/log(2)))||(((analog_1_enabled&&analog_2_enabled)||(analog_1_enabled&&analog_3_enabled)||(analog_2_enabled&&analog_3_enabled))&& sample_rate>5000/(log(PSC)/log(2)))||(sample_rate>10000/(log(PSC)/log(2)))){
		sample_rate=(analog_1_enabled && analog_2_enabled && analog_3_enabled)?3000:((analog_1_enabled&&analog_2_enabled)||(analog_1_enabled&&analog_3_enabled)||(analog_2_enabled&&analog_3_enabled))?5000:10000;
		sample_rate/=(log(PSC)/log(2));
		setDelay();
	}

	hcan.Init.Prescaler = PSC;

	//reinitialize can
	if (HAL_CAN_Init(&hcan) != HAL_OK)
	{
		Error_Handler();
	}

	//start the can protocol and verify that it has started
	if (HAL_CAN_Start(&hcan) != HAL_OK) {
		Error_Handler();
	}

	//store new baud in flash
	storeInFlash();

	//save the baud rate in menu
	memset(temp,0,17); // erase the temp array
	strncpy(temp, "Baud rate:  ",16);
	strlcat(temp,baud_rates[baud_pos],17);
	strlcpy(can_menu[1],temp,17);
	lcd_put_cur(0,0);

	can_enabled=1;
}

//changes the ID of the selected can device
void changeCANID(uint8_t direction){
	if(can_pos==2){//change can id 1
		can_id_1+=direction;
		while(can_id_1==can_id_2 || can_id_1==can_id_3)//avoid conflicting IDs
			can_id_1+=direction;
		sprintf(char_arr, "%03d", can_id_1);
		memcpy(modified_can_id, char_arr, 3);//store new can id in modified_can_id
	} else if(can_pos==3){//change can id 2
		can_id_2+=direction;
		while(can_id_2==can_id_1 || can_id_2==can_id_3)//avoid conflicting IDs
			can_id_2+=direction;
		sprintf(char_arr, "%03d", can_id_2);
		memcpy(modified_can_id, char_arr, 3);//store new can id in modified_can_id
	} else if(can_pos==4){// change can id 3
		can_id_3+=direction;
		while(can_id_3==can_id_1 || can_id_3==can_id_2)//avoid conflicting IDs
			can_id_3+=direction;
		sprintf(char_arr, "%03d", can_id_3);
		memcpy(modified_can_id, char_arr, 3);//store new can id in modified_can_id
	}
	//display the selected CAN ID
	lcd_put_cur(0,13);
	lcd_send_string("    ");
	lcd_put_cur(0,13);
	lcd_send_string(modified_can_id);
	lcd_put_cur(0,15);
}

//set the can IDs
void setCANID(void){
	headers_1.StdId = can_id_1; // set CAN ID 1
	headers_2.StdId = can_id_2; // set CAN ID 2
	headers_3.StdId = can_id_3; // set CAN ID 3

	//Store the CAN IDs
	id_arr[0]=can_id_1;
	id_arr[1]=can_id_2;
	id_arr[2]=can_id_3;
	id_arr[3]=0;

	storeInFlash();

	//save can IDs in menu
	//can id 1
	memset(temp,0,17); // erase the temp array
	strncpy(temp, "CAN ID ",16);
	strcat(temp, "1:    ");
	memset(char_arr, 0, 16);
	sprintf(char_arr, "%03d", can_id_1);
	strlcat(temp, char_arr,17);
	memcpy(can_menu[2],temp,17);
	//can id 2
	memset(temp,0,17); // erase the temp array
	strncpy(temp, "CAN ID ",16);
	strcat(temp, "2:    ");
	memset(char_arr, 0, 16);
	sprintf(char_arr, "%03d", can_id_2);
	strlcat(temp, char_arr,17);
	memcpy(can_menu[3],temp,17);
	//can id 3
	memset(temp,0,17); // erase the temp array
	strncpy(temp, "CAN ID ",16);
	strcat(temp, "3:    ");
	memset(char_arr, 0, 16);
	sprintf(char_arr, "%03d", can_id_3);
	strlcat(temp, char_arr,17);
	memcpy(can_menu[4],temp,17);

	lcd_put_cur(0,0);
}

//reset CAN Variables
void resetCAN(void){
	//reset IDs
	can_id_1=1;
	can_id_2=2;
	can_id_3=3;
	setCANID();

	//reset baud rate to 1M
	baud_pos=3;
	setBaudRate();

	lcd_put_cur(0,0);
	lcd_send_string("Reset Successful");
	lcd_put_cur(0,15);
}

//change the number of delays between samples
void changeDelay(uint16_t direction){

	if(direction==1)
		sample_rate+=(sample_rate>=1000)?direction*1000:(sample_rate>=100)?direction*100:direction*10;//move sample rate in positive direction
	else
		sample_rate+=(sample_rate>1000)?direction*1000:(sample_rate>100)?direction*100:direction*10;//move sample rate in negative direction
	//sample rate cap
	if((analog_1_enabled && analog_2_enabled && analog_3_enabled && sample_rate > 3000/(log(PSC)/log(2)))||(((analog_1_enabled&&analog_2_enabled)||(analog_1_enabled&&analog_3_enabled)||(analog_2_enabled&&analog_3_enabled))&& sample_rate>5000/(log(PSC)/log(2)))||(sample_rate>10000/(log(PSC)/log(2)))){
		sample_rate=30;
	} else if(sample_rate<30){
		sample_rate=(analog_1_enabled && analog_2_enabled && analog_3_enabled)?3000:((analog_1_enabled&&analog_2_enabled)||(analog_1_enabled&&analog_3_enabled)||(analog_2_enabled&&analog_3_enabled))?5000:10000;
		sample_rate/=(log(PSC)/log(2));
	}

	//display new sample rate
	lcd_put_cur(0,8);
	char temp_arr[5];
	sprintf(temp_arr, "%05d", sample_rate);
	lcd_send_string(temp_arr);
	lcd_put_cur(0,13);
}

//change the prescaler to achieve the desired baud rate and reinitialize the can bus
void setDelay(void){
	//sore the nmber of delays in flash
	storeInFlash();
	TIM3->ARR = (uint32_t)(((double)1/sample_rate)*1000000) - 1;//change CAN interrupt timer period

	//save the sample rate in microseconds in menu
	memset(temp,0,17); // erase the temp array
	strncpy(temp, "Rate:   ",16);
	memset(char_arr, 0, 16);
	sprintf(char_arr, "%05d", sample_rate);
	strcat(temp, char_arr);
	strlcat(temp,"sps",17);
	memcpy(main_menu[3],temp,17);
	lcd_put_cur(0,0);
}

//sets an offset for the specified analog value
void zeroAnalog(uint8_t analog_id){
	if(analog_id==0){//zero all
		analog_1_offset = (uint32_t)((float)a_in_1_avg/offset_scalar_1)+analog_1_offset;
		analog_2_offset = (uint32_t)((float)a_in_2_avg/offset_scalar_2)+analog_2_offset;
		analog_3_offset = (uint32_t)((float)a_in_3_avg/offset_scalar_3)+analog_3_offset;
		offset_scalar_1=(65535)/(float)(65535-analog_1_offset);
		offset_scalar_2=(65535)/(float)(65535-analog_2_offset);
		offset_scalar_3=(65535)/(float)(65535-analog_3_offset);
	} else if(analog_id==1){//zero 1
		analog_1_offset = (uint32_t)((float)a_in_1_avg/offset_scalar_1)+analog_1_offset;
		offset_scalar_1=(65535)/(float)(65535-analog_1_offset);
	} else if(analog_id==2){//zero 2
		analog_2_offset = (uint32_t)((float)a_in_2_avg/offset_scalar_2)+analog_2_offset;
		offset_scalar_2=(65535)/(float)(65535-analog_2_offset);
	} else if(analog_id==3){//zero 3
		analog_3_offset = (uint32_t)((float)a_in_3_avg/offset_scalar_3)+analog_3_offset;
		offset_scalar_3=(65535)/(float)(65535-analog_3_offset);
	}

	lcd_put_cur(0,0);
	lcd_send_string("Zero Successful ");
	lcd_put_cur(0,15);
}

//resets all analog offsets to 0 and stores it in flash
void resetOffsets(void){
	analog_1_offset=0;
	analog_2_offset=0;
	analog_3_offset=0;
	offset_scalar_1=1;
	offset_scalar_2=1;
	offset_scalar_3=1;

	store_offsets=1;

	storeInFlash();

	lcd_put_cur(0,0);
	lcd_send_string("Reset Successful");
	lcd_put_cur(0,15);
}

//turns the analog device on or off
void toggleAnalog(uint8_t analog_id){
	uint8_t enabled=0;//bool to indicate if the change enabled the device
	//update state and display it
	lcd_put_cur(0,13);
	if(analog_id==1){
		if(analog_1_enabled)
			lcd_send_string("OFF");
		else{
			lcd_send_string(" ON");
			enabled=1;}
		analog_1_enabled=!analog_1_enabled;
	}else if(analog_id==2){
		if(analog_2_enabled)
			lcd_send_string("OFF");
		else{
			lcd_send_string(" ON");
			enabled=1;}
		analog_2_enabled=!analog_2_enabled;
	}else if(analog_id==3){
		if(analog_3_enabled)
			lcd_send_string("OFF");
		else{
			lcd_send_string(" ON");enabled=1;}
		analog_3_enabled=!analog_3_enabled;
	}

	//sample rate cap
	if(sample_rate<30||(analog_1_enabled && analog_2_enabled && analog_3_enabled && sample_rate > 3000/(log(PSC)/log(2)))||(((analog_1_enabled&&analog_2_enabled)||(analog_1_enabled&&analog_3_enabled)||(analog_2_enabled&&analog_3_enabled))&& sample_rate>5000/(log(PSC)/log(2)))||(sample_rate>10000/(log(PSC)/log(2)))){
		sample_rate=(analog_1_enabled && analog_2_enabled && analog_3_enabled)?3000:((analog_1_enabled&&analog_2_enabled)||(analog_1_enabled&&analog_3_enabled)||(analog_2_enabled&&analog_3_enabled))?5000:10000;
		sample_rate/=(log(PSC)/log(2));
		setDelay();
	}

	//store the state in the menu
	if(enabled){
		memset(temp,0,17); // erase the temp array
		strncpy(temp, "Analog ",16);
		memset(char_arr, 0, 16);
		sprintf(char_arr, "%01d", analog_id);
		strcat(temp, char_arr);
		strcat(temp,":     ");
		strlcat(temp, "ON",17);
		memcpy(analog_menu[analog_id+4],temp,17);
	}else{
		memset(temp,0,17); // erase the temp array
		strncpy(temp, "Analog ",16);
		memset(char_arr, 0, 16);
		sprintf(char_arr, "%01d", analog_id);
		strcat(temp, char_arr);
		strcat(temp,":    ");
		strlcat(temp, "OFF",17);
		memcpy(analog_menu[analog_id+4],temp,17);}

	//store the values in an array
	analog_enable_arr[0]=analog_1_enabled;
	analog_enable_arr[1]=analog_2_enabled;
	analog_enable_arr[2]=analog_3_enabled;

	storeInFlash();

	//reset cursor on display
	lcd_put_cur(0,0);

}

//display the analog values on the display
void displayValues(void){
	updating_display=1;
	lcd_put_cur(0,0);
	if(analog_1_enabled&&analog_2_enabled&&analog_3_enabled){//all 3 devices are enabled
		if(display_scroll==0){//position 1
			lcd_send_string("Analog 1:       ");
			lcd_put_cur(0,11);
			memset(char_arr, 0, 16);
			sprintf(char_arr, "%05d", a_in_1_avg);
			lcd_send_string(char_arr);
			lcd_put_cur(1,0);
			lcd_send_string("Analog 2:       ");
			lcd_put_cur(1,11);
			memset(char_arr, 0, 16);
			sprintf(char_arr, "%05d", a_in_2_avg);
			lcd_send_string(char_arr);
		}else if(display_scroll==1){//position 2
			lcd_send_string("Analog 2:       ");
			lcd_put_cur(0,11);
			memset(char_arr, 0, 16);
			sprintf(char_arr, "%05d", a_in_2_avg);
			lcd_send_string(char_arr);
			lcd_put_cur(1,0);
			lcd_send_string("Analog 3:       ");
			lcd_put_cur(1,11);
			memset(char_arr, 0, 16);
			sprintf(char_arr, "%05d", a_in_3_avg);
			lcd_send_string(char_arr);
		}else {//position 3
			lcd_send_string("Analog 3:       ");
			lcd_put_cur(0,11);
			memset(char_arr, 0, 16);
			sprintf(char_arr, "%05d", a_in_3_avg);
			lcd_send_string(char_arr);
			lcd_put_cur(1,0);
			lcd_send_string("Analog 1:       ");
			lcd_put_cur(1,11);
			memset(char_arr, 0, 16);
			sprintf(char_arr, "%05d", a_in_1_avg);
			lcd_send_string(char_arr);
		}

	}else{//less than 3 are enabled
		if(analog_1_enabled){//display device 1 on first line
			lcd_send_string("Analog 1:       ");
			lcd_put_cur(0,11);
			memset(char_arr, 0, 16);
			sprintf(char_arr, "%05d", a_in_1_avg);
			lcd_send_string(char_arr);
			lcd_put_cur(1,0);
			lcd_send_string("                ");
		} else if(analog_2_enabled){//display device 2 on first line
			lcd_send_string("Analog 2:       ");
			lcd_put_cur(0,11);
			memset(char_arr, 0, 16);
			sprintf(char_arr, "%05d", a_in_2_avg);
			lcd_send_string(char_arr);
			lcd_put_cur(1,0);
			lcd_send_string("                ");
		} else if(analog_3_enabled){//display device 3 on first line
			lcd_send_string("Analog 3:       ");
			lcd_put_cur(0,11);
			memset(char_arr, 0, 16);
			sprintf(char_arr, "%05d", a_in_3_avg);
			lcd_send_string(char_arr);
			lcd_put_cur(1,0);
			lcd_send_string("                ");
		} else{//display no devices enabled
			lcd_send_string("No Devices      ");
			lcd_put_cur(1,0);
			lcd_send_string("Enabled         ");
			lcd_put_cur(1,15);
		}

		if(analog_1_enabled&&analog_2_enabled){//display device 2 on second line
			lcd_put_cur(1,0);
			lcd_send_string("Analog 2:       ");
			lcd_put_cur(1,11);
			memset(char_arr, 0, 16);
			sprintf(char_arr, "%05d", a_in_2_avg);
			lcd_send_string(char_arr);
		} else if((analog_1_enabled&&analog_3_enabled)||(analog_2_enabled&&analog_3_enabled)){//display device 3 on second line
			lcd_put_cur(1,0);
			lcd_send_string("Analog 3:       ");
			lcd_put_cur(1,11);
			memset(char_arr, 0, 16);
			sprintf(char_arr, "%05d", a_in_3_avg);
			lcd_send_string(char_arr);
		}
	}
	updating_display=0;
}

//convert a 4 byte array to a word (unsigned long int)
uint32_t bytesToWord(uint8_t* arr) {
	uint32_t value = arr[0] & 0xFF;
	value |= (arr[1] << 8) & 0xFFFF;
	value |= (arr[2] << 16) & 0xFFFFFF;
	value |= (arr[3] << 24) & 0xFFFFFFFF;
	return value;
}

//convert a word (unsigned long int) to a 4 byte array
uint8_t* wordToBytes(uint32_t value){
	byte_arr[3] = (value >> 24) & 0xFF;
	byte_arr[2] = (value >> 16) & 0xFF;
	byte_arr[1] = (value >> 8) & 0xFF;
	byte_arr[0] = value & 0xFF;
	return byte_arr;
}

//calibrate the given sdadc for the given channel
void calibrateSDADC(SDADC_HandleTypeDef* adc, uint32_t channel){
	//Display Calibrating
	lcd_put_cur(0,0);
	lcd_send_string("Calibrating ADC ");
	lcd_put_cur(1,0);
	lcd_send_string("                ");

	//Run Calibration Sequence
	HAL_SDADC_AssociateChannelConfig(adc, channel, SDADC_CONF_INDEX_0);
	HAL_SDADC_ConfigChannel(adc, channel, SDADC_CONTINUOUS_CONV_OFF);
	HAL_SDADC_CalibrationStart(adc, SDADC_CALIBRATION_SEQ_1);
	HAL_SDADC_PollForCalibEvent(adc, HAL_MAX_DELAY);
	HAL_SDADC_ConfigChannel(adc, channel, SDADC_CONTINUOUS_CONV_ON);

	//Display Menu
	lcd_put_cur(0,0);
	lcd_send_string(strncpy(temp,main_menu[menu_pos],16));
	lcd_put_cur(1,0);
	lcd_send_string(strncpy(temp,main_menu[menu_pos+1],16));
	lcd_put_cur(0,0);
}

//store all saved values in flash memory
void storeInFlash(void){
	//Unlock the Flash Program Erase controller
	HAL_FLASH_Unlock();

	//Erase page
	FLASH_EraseInitTypeDef eraseParams;
	eraseParams.TypeErase = FLASH_TYPEERASE_PAGES;
	eraseParams.PageAddress = 0x0800F800;
	eraseParams.NbPages=1;
	uint32_t eraseError=0;
	HAL_FLASHEx_Erase(&eraseParams, &eraseError);
	FLASH_WaitForLastOperation(HAL_MAX_DELAY);

	//Store values
	HAL_FLASH_Program(FLASH_TYPEPROGRAM_WORD, 0x0800F800, bytesToWord(id_arr));//store can ids
	FLASH_WaitForLastOperation(HAL_MAX_DELAY);
	HAL_FLASH_Program(FLASH_TYPEPROGRAM_WORD, 0x0800F804, (uint32_t)baud_pos); //store baud rate
	FLASH_WaitForLastOperation(HAL_MAX_DELAY);
	HAL_FLASH_Program(FLASH_TYPEPROGRAM_WORD, 0x0800F808, (uint32_t)sample_rate); // store number of delays
	FLASH_WaitForLastOperation(HAL_MAX_DELAY);
	HAL_FLASH_Program(FLASH_TYPEPROGRAM_WORD, 0x0800F80C, bytesToWord(analog_enable_arr)); // store device enable bools
	FLASH_WaitForLastOperation(HAL_MAX_DELAY);
	if(store_offsets){
		HAL_FLASH_Program(FLASH_TYPEPROGRAM_WORD, 0x0800F810, analog_1_offset); // store analog 1 offset
		FLASH_WaitForLastOperation(HAL_MAX_DELAY);
		HAL_FLASH_Program(FLASH_TYPEPROGRAM_WORD, 0x0800F814, analog_2_offset); // store analog 2 offset
		FLASH_WaitForLastOperation(HAL_MAX_DELAY);
		HAL_FLASH_Program(FLASH_TYPEPROGRAM_WORD, 0x0800F818, analog_3_offset); // store analog 3 offset
		FLASH_WaitForLastOperation(HAL_MAX_DELAY);
		store_offsets=0;
	}

	//Lock the Flash Program Erase controller
	HAL_FLASH_Lock();
}

/* USER CODE END 4 */

void Error_Handler(void)
{
	__disable_irq();
	while (1)
	{
	}
}

/************************ (C) COPYRIGHT STMicroelectronics *****END OF FILE****/
